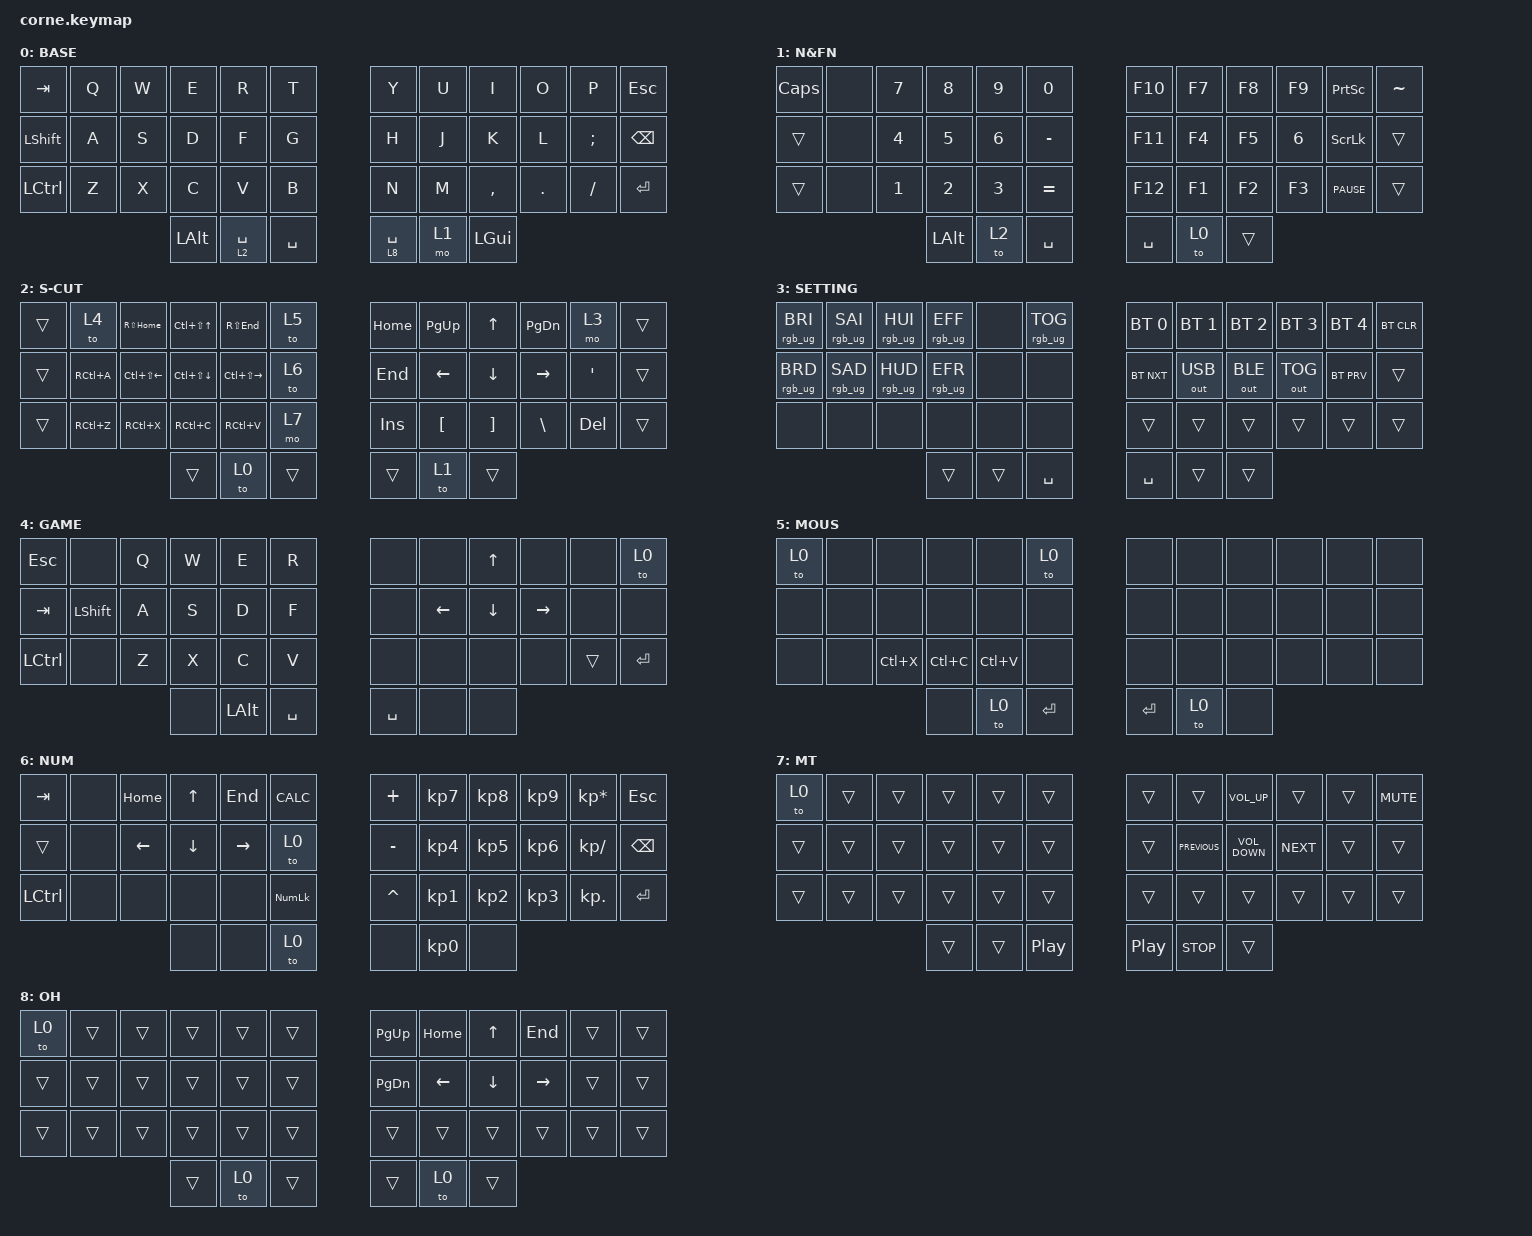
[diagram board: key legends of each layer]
/*
 * Copyright (c) 2020 The ZMK Contributors
 *
 * SPDX-License-Identifier: MIT
 */

#define BASE     0
#define NFN      1
#define SCUT     2
#define SETTING  3
#define GAME     4
#define MOUS     5
#define NUM      6
#define MT       7
#define OH       8

#include <behaviors.dtsi>
#include <dt-bindings/zmk/keys.h>
#include <dt-bindings/zmk/rgb.h>
#include <dt-bindings/zmk/bt.h>
#include <dt-bindings/zmk/outputs.h>

/ {
    behaviors {
        hm: homerow_mods {
            compatible = "zmk,behavior-hold-tap";
            label = "HOMEROW_MODS";
            #binding-cells = <2>;
            tapping-term-ms = <150>;
            quick-tap-ms = <0>;
            flavor = "tap-preferred";
            bindings =
                <&kp>,
                <&kp>;
        };
    };

    combos {
        compatible = "zmk,combos";

        tab {
            bindings = <&kp ESC>;
            key-positions = <12 13>;
        };

        esc {
            bindings = <&kp TAB>;
            key-positions = <0 1>;
        };

        test {
            bindings = <&test>;
            key-positions = <0 1 2>;
        };

        tst {
            bindings = <&ceshi>;
            key-positions = <13 14>;
        };
    };

    macros {
        test: test {
            compatible = "zmk,behavior-macro";
            label = "new_macro";
            #binding-cells = <0>;
            bindings = <&kp T &kp E &kp S &kp T>;
        };
        ceshi: ceshi {
            compatible = "zmk,behavior-macro";
            label = "new_macro";
            #binding-cells = <0>;
            bindings = <&kp T &kp S &kp T>;
        };
    };

    keymap {
        compatible = "zmk,keymap";

        BASE {
            label = "BASE";
            bindings = <
    &kp TAB   &kp Q   &kp W         &kp E        &kp R      &kp T                &kp Y   &kp U      &kp I       &kp O     &kp P        &kp ESC
 &kp LSHIFT   &kp A   &kp S         &kp D        &kp F      &kp G                &kp H   &kp J      &kp K       &kp L  &kp SEMI  &kp BACKSPACE
  &kp LCTRL   &kp Z   &kp X         &kp C        &kp V      &kp B                &kp N   &kp M  &kp COMMA  &kp PERIOD  &kp FSLH      &kp ENTER
                             &kp LEFT_ALT  &lt 2 SPACE  &kp SPACE          &lt 8 SPACE   &mo 1   &kp LGUI
            >;
        };

        N_FN {
            label = "N&FN";
            bindings = <
 &kp CAPS   &none  &kp N7        &kp N8  &kp N9     &kp N0            &kp F10  &kp F7  &kp F8  &kp F9  &kp PRINTSCREEN  &kp TILDE
   &trans   &none  &kp N4        &kp N5  &kp N6  &kp MINUS            &kp F11  &kp F4  &kp F5  &kp N6   &kp SCROLLLOCK     &trans
   &trans   &none  &kp N1        &kp N2  &kp N3  &kp EQUAL            &kp F12  &kp F1  &kp F2  &kp F3      &kp C_PAUSE     &trans
                           &kp LEFT_ALT   &to 2  &kp SPACE          &kp SPACE   &to 0  &trans
            >;
        };

        SCUT {
            label = "S-CUT";
            bindings = <
 &trans      &to 4      &kp RS(HOME)    &kp LC(LS(UP))        &kp RS(END)   &to 5            &kp HOME  &kp PAGE_UP             &kp UP  &kp PAGE_DOWN           &mo 3  &trans
 &trans  &kp RC(A)  &kp LC(LS(LEFT))  &kp LC(LS(DOWN))  &kp LC(LS(RIGHT))   &to 6             &kp END     &kp LEFT           &kp DOWN      &kp RIGHT  &kp APOSTROPHE  &trans
 &trans  &kp RC(Z)         &kp RC(X)         &kp RC(C)          &kp RC(V)   &mo 7          &kp INSERT     &kp LBKT  &kp RIGHT_BRACKET  &kp BACKSLASH      &kp DELETE  &trans
                                                &trans              &to 0  &trans              &trans        &to 1             &trans
            >;
        };

        SETTING {
            label = "SETTING";
            bindings = <
 &rgb_ug RGB_BRI  &rgb_ug RGB_SAI  &rgb_ug RGB_HUI  &rgb_ug RGB_EFF   &none  &rgb_ug RGB_TOG          &bt BT_SEL 0  &bt BT_SEL 1  &bt BT_SEL 2  &bt BT_SEL 3  &bt BT_SEL 4  &bt BT_CLR
 &rgb_ug RGB_BRD  &rgb_ug RGB_SAD  &rgb_ug RGB_HUD  &rgb_ug RGB_EFR   &none            &none            &bt BT_NXT  &out OUT_USB  &out OUT_BLE  &out OUT_TOG    &bt BT_PRV      &trans
           &none            &none            &none            &none   &none            &none                &trans        &trans        &trans        &trans        &trans      &trans
                                                             &trans  &trans        &kp SPACE             &kp SPACE        &trans        &trans
            >;
        };

        GAME {
            label = "GAME";
            bindings = <
   &kp ESC           &none   &kp Q   &kp W         &kp E      &kp R              &none     &none    &kp UP      &none   &none      &to 0
   &kp TAB  &kp LEFT_SHIFT   &kp A   &kp S         &kp D      &kp F              &none  &kp LEFT  &kp DOWN  &kp RIGHT   &none      &none
 &kp LCTRL           &none   &kp Z   &kp X         &kp C      &kp V              &none     &none     &none      &none  &trans  &kp ENTER
                                     &none  &kp LEFT_ALT  &kp SPACE          &kp SPACE     &none     &none
            >;
        };

        MOUS {
            label = "MOUS";
            bindings = <
  &to 0   &none      &none      &none      &none      &to 0              &none   &none   &none   &none   &none   &none
  &none   &none      &none      &none      &none      &none              &none   &none   &none   &none   &none   &none
  &none   &none  &kp LC(X)  &kp LC(C)  &kp LC(V)      &none              &none   &none   &none   &none   &none   &none
                                &none      &to 0  &kp ENTER          &kp ENTER   &to 0   &none
            >;
        };

        NUM {
            label = "NUM";
            bindings = <
   &kp TAB   &none  &kp HOME    &kp UP    &kp END      &kp K_CALC           &kp PLUS  &kp KP_N7  &kp KP_N8  &kp KP_N9  &kp KP_MULTIPLY        &kp ESC
    &trans   &none  &kp LEFT  &kp DOWN  &kp RIGHT           &to 0          &kp MINUS  &kp KP_N4  &kp KP_N5  &kp KP_N6    &kp KP_DIVIDE  &kp BACKSPACE
 &kp LCTRL   &none     &none     &none      &none  &kp KP_NUMLOCK          &kp CARET  &kp KP_N1  &kp KP_N2  &kp KP_N3       &kp KP_DOT      &kp ENTER
                                 &none      &none           &to 0              &none  &kp KP_N0      &none
            >;
        };

        MT {
            label = "MT";
            bindings = <
  &to 0  &trans  &trans  &trans  &trans            &trans                    &trans          &trans    &kp C_VOLUME_UP      &trans  &trans  &kp C_MUTE
 &trans  &trans  &trans  &trans  &trans            &trans                    &trans  &kp C_PREVIOUS  &kp C_VOLUME_DOWN  &kp C_NEXT  &trans      &trans
 &trans  &trans  &trans  &trans  &trans            &trans                    &trans          &trans             &trans      &trans  &trans      &trans
                         &trans  &trans  &kp C_PLAY_PAUSE          &kp C_PLAY_PAUSE      &kp C_STOP             &trans
            >;
        };

        OH {
            label = "OH";
            bindings = <
  &to 0  &trans  &trans  &trans  &trans  &trans          &kp PG_UP  &kp HOME    &kp UP    &kp END  &trans  &trans
 &trans  &trans  &trans  &trans  &trans  &trans          &kp PG_DN  &kp LEFT  &kp DOWN  &kp RIGHT  &trans  &trans
 &trans  &trans  &trans  &trans  &trans  &trans             &trans    &trans    &trans     &trans  &trans  &trans
                         &trans   &to 0  &trans             &trans     &to 0    &trans
            >;
        };
    };
};
